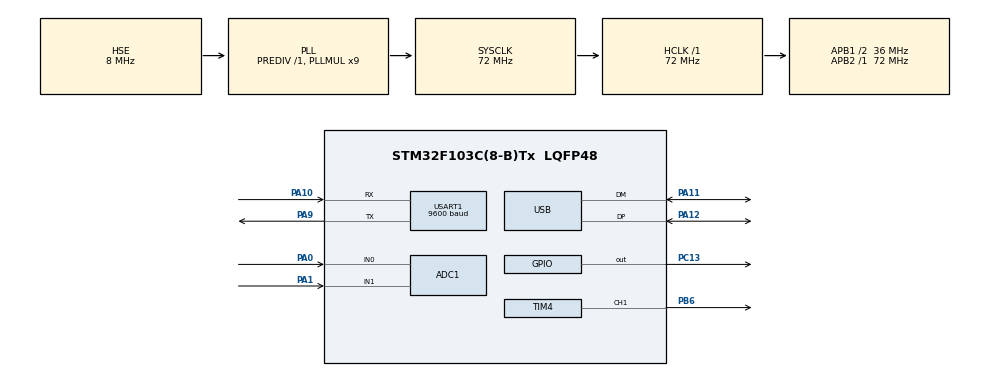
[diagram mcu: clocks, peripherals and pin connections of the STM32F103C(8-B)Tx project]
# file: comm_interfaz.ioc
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Mcu.Family=STM32F1
RCC.PLLSourceVirtual=RCC_PLLSOURCE_HSE
NVIC.ADC1_2_IRQn=true\:0\:0\:false\:false\:true\:true\:true
USB_DEVICE.CLASS_NAME_FS=CDC
ADC1.Rank-0\#ChannelRegularConversion=1
Dma.ADC1.1.MemDataAlignment=DMA_MDATAALIGN_HALFWORD
NVIC.DMA1_Channel5_IRQn=true\:0\:0\:false\:false\:true\:false\:true
Dma.USART1_RX.0.PeriphDataAlignment=DMA_PDATAALIGN_BYTE
PD1-OSC_OUT.Mode=HSE-External-Oscillator
PA10.Mode=Asynchronous
USB_DEVICE.VirtualModeFS=Cdc_FS
USART1.BaudRate=9600
PC13-TAMPER-RTC.Signal=GPIO_Output
RCC.USBPrescaler=RCC_USBCLKSOURCE_PLL_DIV1_5
PA11.Mode=Device
PD0-OSC_IN.Signal=RCC_OSC_IN
RCC.APB1CLKDivider=RCC_HCLK_DIV2
RCC.SYSCLKSource=RCC_SYSCLKSOURCE_PLLCLK
ProjectManager.StackSize=0x400
PA0-WKUP.Signal=ADCx_IN0
PD1-OSC_OUT.Signal=RCC_OSC_OUT
RCC.ADCPresc=RCC_ADCPCLK2_DIV6
PA13.Signal=SYS_JTMS-SWDIO
PA9.Mode=Asynchronous
PA12.Signal=USB_DP
ProjectManager.TargetToolchain=STM32CubeIDE
Dma.ADC1.1.Instance=DMA1_Channel1
Dma.USART1_RX.0.Direction=DMA_PERIPH_TO_MEMORY
RCC.HCLKFreq_Value=72000000
VP_USB_DEVICE_VS_USB_DEVICE_CDC_FS.Mode=CDC_FS
RCC.APB2TimFreq_Value=72000000
TIM3.Period=1000 - 1
PA9.Signal=USART1_TX
PB6.Signal=S_TIM4_CH1
ADC1.Channel-1\#ChannelRegularConversion=ADC_CHANNEL_1
Dma.ADC1.1.PeriphDataAlignment=DMA_PDATAALIGN_HALFWORD
RCC.USBFreq_Value=48000000
TIM4.Prescaler=251 - 1
TIM4.OCMode_1=TIM_OCMODE_TOGGLE
PA1.Signal=ADCx_IN1
RCC.AHBFreq_Value=72000000
Dma.USART1_RX.0.PeriphInc=DMA_PINC_DISABLE
Dma.USART1_RX.0.Priority=DMA_PRIORITY_LOW
PD0-OSC_IN.Mode=HSE-External-Oscillator
ADC1.Channel-0\#ChannelRegularConversion=ADC_CHANNEL_0
board=custom
TIM4.Pulse-Output\ Compare1\ CH1=50
RCC.PLLMUL=RCC_PLL_MUL9
RCC.APB2Freq_Value=72000000
PA14.Mode=Serial_Wire
TIM3.Prescaler=7200 - 1
NVIC.USB_LP_CAN1_RX0_IRQn=true\:0\:0\:false\:false\:true\:false\:true
Dma.ADC1.1.Priority=DMA_PRIORITY_LOW
Dma.USART1_RX.0.MemDataAlignment=DMA_MDATAALIGN_BYTE
Dma.ADC1.1.Mode=DMA_CIRCULAR
TIM4.Channel-Output\ Compare1\ CH1=TIM_CHANNEL_1
SH.ADCx_IN0.0=ADC1_IN0,IN0
Dma.ADC1.1.PeriphInc=DMA_PINC_DISABLE
TIM4.Period=151 - 1
ADC1.NbrOfConversion=2
Dma.USART1_RX.0.MemInc=DMA_MINC_ENABLE
PA13.Mode=Serial_Wire
Mcu.Name=STM32F103C(8-B)Tx
ADC1.SamplingTime-0\#ChannelRegularConversion=ADC_SAMPLETIME_7CYCLES_5
ADC1.ExternalTrigConv=ADC_EXTERNALTRIGCONV_T3_TRGO
ADC1.SamplingTime-1\#ChannelRegularConversion=ADC_SAMPLETIME_7CYCLES_5
RCC.SYSCLKFreq_VALUE=72000000
Mcu.Package=LQFP48
ADC1.master=1
PA12.Mode=Device
Dma.ADC1.1.Direction=DMA_PERIPH_TO_MEMORY
USART1.VirtualMode=VM_ASYNC
ADC1.Rank-1\#ChannelRegularConversion=2
PA11.Signal=USB_DM
Dma.ADC1.1.MemInc=DMA_MINC_ENABLE
PA10.Signal=USART1_RX
PA14.Signal=SYS_JTCK-SWCLK
ProjectManager.HeapSize=0x200
VP_TIM4_VS_ClockSourceINT.Mode=Internal
NVIC.PriorityGroup=NVIC_PRIORITYGROUP_4
ADC1.NbrOfConversionFlag=1
SH.ADCx_IN1.0=ADC1_IN1,IN1
SH.S_TIM4_CH1.0=TIM4_CH1,Output Compare1 CH1
Dma.Request1=ADC1
RCC.APB1TimFreq_Value=72000000
Dma.USART1_RX.0.Mode=DMA_CIRCULAR
NVIC.DMA1_Channel1_IRQn=true\:0\:0\:false\:false\:true\:false\:true
TIM3.TIM_MasterOutputTrigger=TIM_TRGO_UPDATE
NVIC.USART1_IRQn=true\:0\:0\:false\:false\:true\:true\:true
Dma.Request0=USART1_RX
RCC.APB1Freq_Value=36000000
USB_DEVICE.VirtualMode=Cdc
Dma.USART1_RX.0.Instance=DMA1_Channel5
VP_TIM3_VS_ClockSourceINT.Mode=Internal

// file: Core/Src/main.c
/* USER CODE BEGIN Header */
/**
  ******************************************************************************
  * @file           : main.c
  * @brief          : Main program body
  ******************************************************************************
  * @attention
  *
  * <h2><center>&copy; Copyright (c) 2021 STMicroelectronics.
  * All rights reserved.</center></h2>
  *
  * This software component is licensed by ST under BSD 3-Clause license,
  * the "License"; You may not use this file except in compliance with the
  * License. You may obtain a copy of the License at:
  *                        opensource.org/licenses/BSD-3-Clause
  *
  ******************************************************************************
  */
/* USER CODE END Header */
#include "main.h"
#include "usb_device.h"

/* USER CODE BEGIN Includes */
#include "comm.h"
#include "common_variables.h"
#include "time_functions.h"
#include "compensador.h"
#include <stdio.h>
#include <stdint.h>
#include <stdbool.h>
#include <string.h>
#include <stdlib.h>
#include "usbd_cdc_if.h"
/* USER CODE END Includes */

ADC_HandleTypeDef hadc1;
DMA_HandleTypeDef hdma_adc1;

TIM_HandleTypeDef htim3;
TIM_HandleTypeDef htim4;

UART_HandleTypeDef huart1;
DMA_HandleTypeDef hdma_usart1_rx;

/* USER CODE BEGIN PV */

//variables de prueba del time_functions
uint32_t tLast1 = 0;

//variables para el envio de la secuencia CONECTADO
const uint16_t sendConectadoPeriod = 3000;		//intervalo de tiempo en milisegundos
uint32_t tLast_sendConectado = 0;				//variable para almacenar el último tiempo que se envió

//variables para el envío de valores a la interfaz
int16_t sendDataPeriod = 60;					//intervalo de tiempo en milisegundos
uint32_t tLast_sendData = 0;					//variable para almacenar el último tiempo que se envió

//variables para comunicación con la interfaz
uint8_t enviarDatos = 0;   						//flag para saber si se deben enviar datos o no

//variables para la comunicación serie
uint8_t uart1ReceivedData;				//variable para recibir cada byte del UART
volatile uint8_t inputBuffer[64];				//buffer para ir concatenando el string recibido
volatile uint8_t inputIndex;						//indice para escribir en el buffer
comando_in comandoUart;					//struct que tiene los campos .name y .coeficientes.
volatile uint8_t uart_rx_complete = 0;

//tipo de dato serialDevice_t definido en common_variables.h
//serialDevice_t serialDevice = USB_SERIAL;	 //la variable serialDevice define por dónde se envían los datos
serialDevice_t serialDevice = UART1;

//variables para el ADC
const uint8_t adcSamples = ADC_MAX_SAMPLES;    //cantidad de muestras a tomar
const uint8_t adcSamples_per_ch = adcSamples / 2;		//muestras por canal
volatile uint16_t adcBuf[ADC_MAX_SAMPLES];			//buffer para almacenar las muestras del ADC
uint16_t adc_ch0[ADC_MAX_SAMPLES / 2];						//PARA ALMACENAR LAS MEUSTRAS DEL CANAL 0
uint16_t adc_ch1[ADC_MAX_SAMPLES / 2];
volatile uint8_t adcConverted = 0;					//flag que indica si hay nuevos valores disponibles del adc
const uint32_t ADC_SAMPLE_FREQ = 50000;					//frecuencia de muestreo del adc en Hz

//variables para el compensador digital
comp_t digitalComp;			//comp_t definido en common_variables.h
float Yestimada_m, Yreferencia_m, Yestimada_prom;			//variables para los valores de posición en mm
//float ViL_actual, ViL_anterior;						//para almacenar el valor de la salida del sensor de efecto hall
//float corriente_actual, corriente_anterior,  corriente_media; 	//variables para almacenar los valores de la corriente
uint16_t corriente_media_int;

float ViLref;							//salida del compensador, que entra al controlador de corriente

float derivadas[ADC_MAX_SAMPLES];
float deriv_promedio;
//float Yestimada;
float corriente_media;

//estructura del compensador
comp_t digitalComp;						//compensador digital, tipo de dato definido en common_variables.h
//coeficientes por defecto del compensador
const float DEFAULT_DEN_COEF[] = {0, 1.947, -0.9473};		//denominador por defecto del compensador
const float DEFAULT_NUM_COEF[] = {2.422e6, -4.838e6, 2.416e6}; //numerador por defecto del compensador
/* USER CODE END PV */

void SystemClock_Config(void);
static void MX_GPIO_Init(void);
static void MX_DMA_Init(void);
static void MX_TIM3_Init(void);
static void MX_USART1_UART_Init(void);
static void MX_ADC1_Init(void);
static void MX_TIM4_Init(void);

int main(void)
{

  /* MCU Configuration--------------------------------------------------------*/

  /* Reset of all peripherals, Initializes the Flash interface and the Systick. */
  HAL_Init();

  /* Configure the system clock */
  SystemClock_Config();

  /* Initialize all configured peripherals */
  MX_GPIO_Init();
  MX_DMA_Init();
  MX_TIM3_Init();
  MX_USART1_UART_Init();
  MX_ADC1_Init();
  MX_USB_DEVICE_Init();
  MX_TIM4_Init();
  /* USER CODE BEGIN 2 */

  //inicialización de los valores del compensador digital
  digitalComp.sum1.sign_in = -1;
  digitalComp.sum1.sign_feed = 1;
  digitalComp.sum2.sign_in = -1;
  digitalComp.sum2.sign_feed = 1;
  digitalComp.Kint = 20;				//ganancia del integrador
  digitalComp.Ts = 0.001;				//1 ms de periodo de muestreo
  for(int i = 0; i<3; i++){
	  digitalComp.numCoef[i] = DEFAULT_NUM_COEF[i];
	  digitalComp.denCoef[i] = DEFAULT_DEN_COEF[i];
  }

  HAL_TIM_OC_Start(&htim4, TIM_CHANNEL_1);  //esto es una señal de prueba para generar una onda cuadrada

  setAdcFreq(ADC_SAMPLE_FREQ);    //setea la frecuencia de muestreo del adc

 // HAL_TIM_Base_Start_IT(&htim4);			//inicio el tim4 para enviar la secuencia conectado
  HAL_UART_Receive_DMA(&huart1, &uart1ReceivedData, 1);	//inicio la recepción por uart dma

  HAL_TIM_Base_Start(&htim3);				//inicio el timer 3 para comenzar las conversiones del ADC
  HAL_ADC_Start_DMA(&hadc1, (uint32_t*) adcBuf, adcSamples);	//inicio el ADC en modo DMA
  	  	  	  	  	  	  	  	  	  	  	  	  	  	  	  	//para que lea la cantidad adcSamples
  	  	  	  	  	  	  	  	  	  	  	  	  	  	  	  	//y luego dispare una interrupción
  /* USER CODE END 2 */

  /* Infinite loop */
  while (1)
  {

    /* USER CODE BEGIN 3 */

	  //si se cumple el numero de conversiones deseadas
	  if(adcConverted){
		  adcConverted = 0;
		  HAL_TIM_Base_Stop(&htim3);

		  //esto es para separar las muestras del canal 1 y el 2
		  for(int i= 0; i < adcSamples; i = i + 2){
			  adc_ch0[i/2] = adcBuf[i];
			  adc_ch1[i/2] = adcBuf[i+1];
		  }

		  //acá calculamos la posición de referencia que se lee por el canal 1
		  Yreferencia_m = 2 * adc_ch1[0] * 3.3 / 4095;	//el dos es suponiendo que ponemos un divisor resistivo a la entrada
		  Yreferencia_m -= 3.4687;
		  Yreferencia_m /= 212.5;

		  //acá calculamos la posición estimada
		  corriente_media = obtenerCorrienteMedia((uint16_t *) adc_ch0, adcSamples_per_ch);
		  derivar(derivadas, (uint16_t *) adc_ch0, adcSamples_per_ch, ADC_SAMPLE_FREQ);
		  deriv_promedio = promediar(derivadas, adcSamples_per_ch);
		  Yestimada_m = estimar(deriv_promedio);

		  digitalComp.Yref = Yreferencia_m;
		  digitalComp.Yestimada = Yestimada_m;

		  //acá hay que aplicar el algoritmo de compensación
		  compensar(&digitalComp);
		  ViLref = digitalComp.control2_n;
		  //poner salida en el DAC ( que no tengo jej)

		  HAL_TIM_Base_Start(&htim3);

	  }

	 //me fijo si se cumplió el periodo de 3 segundos
	  if(checkPeriod(sendConectadoPeriod, &tLast_sendConectado)){
		  comm_send_conectado();
	  }

	  //me fijo si se cumplió el periodo para envíar los datos a la app
	  if(enviarDatos & checkPeriod(sendDataPeriod, &tLast_sendData)){
	  		 // HAL_GPIO_TogglePin(GPIOC, GPIO_PIN_13);
	  		  comm_send_data((uint16_t) Yestimada_m, (uint16_t) corriente_media, adcBuf[2],  adcBuf[3]);

	  		  char strEstim[20];
	  		  sprintf(strEstim, "%5.2f\r\n", Yestimada_m);
	  		//  serialSend(serialDevice, (uint8_t*) strEstim, strlen(strEstim), 100);

	  		 // __HAL_TIM_SET_COMPARE(&htim4, TIM_CHANNEL_1, adcBuf[0]);
	  	  }

	  //si se recibe un nuevo comando por uart o por usb
	  if(uart_rx_complete){
		  uart_rx_complete = 0;			//reseteo el flag
		  comandoUart = comm_parse(inputBuffer);		//configura los campos de comandoUart
		  comm_case(comandoUart);						//decide qué hacer en función del comando
	  }
  }
  /* USER CODE END 3 */
}

void SystemClock_Config(void)
{
  RCC_OscInitTypeDef RCC_OscInitStruct = {0};
  RCC_ClkInitTypeDef RCC_ClkInitStruct = {0};
  RCC_PeriphCLKInitTypeDef PeriphClkInit = {0};

  /** Initializes the RCC Oscillators according to the specified parameters
  * in the RCC_OscInitTypeDef structure.
  */
  RCC_OscInitStruct.OscillatorType = RCC_OSCILLATORTYPE_HSE;
  RCC_OscInitStruct.HSEState = RCC_HSE_ON;
  RCC_OscInitStruct.HSEPredivValue = RCC_HSE_PREDIV_DIV1;
  RCC_OscInitStruct.HSIState = RCC_HSI_ON;
  RCC_OscInitStruct.PLL.PLLState = RCC_PLL_ON;
  RCC_OscInitStruct.PLL.PLLSource = RCC_PLLSOURCE_HSE;
  RCC_OscInitStruct.PLL.PLLMUL = RCC_PLL_MUL9;
  if (HAL_RCC_OscConfig(&RCC_OscInitStruct) != HAL_OK)
  {
    Error_Handler();
  }
  /** Initializes the CPU, AHB and APB buses clocks
  */
  RCC_ClkInitStruct.ClockType = RCC_CLOCKTYPE_HCLK|RCC_CLOCKTYPE_SYSCLK
                              |RCC_CLOCKTYPE_PCLK1|RCC_CLOCKTYPE_PCLK2;
  RCC_ClkInitStruct.SYSCLKSource = RCC_SYSCLKSOURCE_PLLCLK;
  RCC_ClkInitStruct.AHBCLKDivider = RCC_SYSCLK_DIV1;
  RCC_ClkInitStruct.APB1CLKDivider = RCC_HCLK_DIV2;
  RCC_ClkInitStruct.APB2CLKDivider = RCC_HCLK_DIV1;

  if (HAL_RCC_ClockConfig(&RCC_ClkInitStruct, FLASH_LATENCY_2) != HAL_OK)
  {
    Error_Handler();
  }
  PeriphClkInit.PeriphClockSelection = RCC_PERIPHCLK_ADC|RCC_PERIPHCLK_USB;
  PeriphClkInit.AdcClockSelection = RCC_ADCPCLK2_DIV6;
  PeriphClkInit.UsbClockSelection = RCC_USBCLKSOURCE_PLL_DIV1_5;
  if (HAL_RCCEx_PeriphCLKConfig(&PeriphClkInit) != HAL_OK)
  {
    Error_Handler();
  }
}

static void MX_ADC1_Init(void)
{

  ADC_ChannelConfTypeDef sConfig = {0};

  /** Common config
  */
  hadc1.Instance = ADC1;
  hadc1.Init.ScanConvMode = ADC_SCAN_ENABLE;
  hadc1.Init.ContinuousConvMode = DISABLE;
  hadc1.Init.DiscontinuousConvMode = DISABLE;
  hadc1.Init.ExternalTrigConv = ADC_EXTERNALTRIGCONV_T3_TRGO;
  hadc1.Init.DataAlign = ADC_DATAALIGN_RIGHT;
  hadc1.Init.NbrOfConversion = 2;
  if (HAL_ADC_Init(&hadc1) != HAL_OK)
  {
    Error_Handler();
  }
  /** Configure Regular Channel
  */
  sConfig.Channel = ADC_CHANNEL_0;
  sConfig.Rank = ADC_REGULAR_RANK_1;
  sConfig.SamplingTime = ADC_SAMPLETIME_7CYCLES_5;
  if (HAL_ADC_ConfigChannel(&hadc1, &sConfig) != HAL_OK)
  {
    Error_Handler();
  }
  /** Configure Regular Channel
  */
  sConfig.Channel = ADC_CHANNEL_1;
  sConfig.Rank = ADC_REGULAR_RANK_2;
  if (HAL_ADC_ConfigChannel(&hadc1, &sConfig) != HAL_OK)
  {
    Error_Handler();
  }

}

static void MX_TIM3_Init(void)
{

  TIM_ClockConfigTypeDef sClockSourceConfig = {0};
  TIM_MasterConfigTypeDef sMasterConfig = {0};

  htim3.Instance = TIM3;
  htim3.Init.Prescaler = 7200 - 1;
  htim3.Init.CounterMode = TIM_COUNTERMODE_UP;
  htim3.Init.Period = 1000 - 1;
  htim3.Init.ClockDivision = TIM_CLOCKDIVISION_DIV1;
  htim3.Init.AutoReloadPreload = TIM_AUTORELOAD_PRELOAD_DISABLE;
  if (HAL_TIM_Base_Init(&htim3) != HAL_OK)
  {
    Error_Handler();
  }
  sClockSourceConfig.ClockSource = TIM_CLOCKSOURCE_INTERNAL;
  if (HAL_TIM_ConfigClockSource(&htim3, &sClockSourceConfig) != HAL_OK)
  {
    Error_Handler();
  }
  sMasterConfig.MasterOutputTrigger = TIM_TRGO_UPDATE;
  sMasterConfig.MasterSlaveMode = TIM_MASTERSLAVEMODE_DISABLE;
  if (HAL_TIMEx_MasterConfigSynchronization(&htim3, &sMasterConfig) != HAL_OK)
  {
    Error_Handler();
  }

}

static void MX_TIM4_Init(void)
{

  TIM_ClockConfigTypeDef sClockSourceConfig = {0};
  TIM_MasterConfigTypeDef sMasterConfig = {0};
  TIM_OC_InitTypeDef sConfigOC = {0};

  htim4.Instance = TIM4;
  htim4.Init.Prescaler = 251 - 1;
  htim4.Init.CounterMode = TIM_COUNTERMODE_UP;
  htim4.Init.Period = 151 - 1;
  htim4.Init.ClockDivision = TIM_CLOCKDIVISION_DIV1;
  htim4.Init.AutoReloadPreload = TIM_AUTORELOAD_PRELOAD_DISABLE;
  if (HAL_TIM_Base_Init(&htim4) != HAL_OK)
  {
    Error_Handler();
  }
  sClockSourceConfig.ClockSource = TIM_CLOCKSOURCE_INTERNAL;
  if (HAL_TIM_ConfigClockSource(&htim4, &sClockSourceConfig) != HAL_OK)
  {
    Error_Handler();
  }
  if (HAL_TIM_OC_Init(&htim4) != HAL_OK)
  {
    Error_Handler();
  }
  sMasterConfig.MasterOutputTrigger = TIM_TRGO_RESET;
  sMasterConfig.MasterSlaveMode = TIM_MASTERSLAVEMODE_DISABLE;
  if (HAL_TIMEx_MasterConfigSynchronization(&htim4, &sMasterConfig) != HAL_OK)
  {
    Error_Handler();
  }
  sConfigOC.OCMode = TIM_OCMODE_TOGGLE;
  sConfigOC.Pulse = 50;
  sConfigOC.OCPolarity = TIM_OCPOLARITY_HIGH;
  sConfigOC.OCFastMode = TIM_OCFAST_DISABLE;
  if (HAL_TIM_OC_ConfigChannel(&htim4, &sConfigOC, TIM_CHANNEL_1) != HAL_OK)
  {
    Error_Handler();
  }
  /* USER CODE BEGIN TIM4_Init 2 */
 // htim4.Init.Prescaler = 2000 - 1;
  /* USER CODE END TIM4_Init 2 */
  HAL_TIM_MspPostInit(&htim4);

}

static void MX_USART1_UART_Init(void)
{

  huart1.Instance = USART1;
  huart1.Init.BaudRate = 9600;
  huart1.Init.WordLength = UART_WORDLENGTH_8B;
  huart1.Init.StopBits = UART_STOPBITS_1;
  huart1.Init.Parity = UART_PARITY_NONE;
  huart1.Init.Mode = UART_MODE_TX_RX;
  huart1.Init.HwFlowCtl = UART_HWCONTROL_NONE;
  huart1.Init.OverSampling = UART_OVERSAMPLING_16;
  if (HAL_UART_Init(&huart1) != HAL_OK)
  {
    Error_Handler();
  }

}

static void MX_DMA_Init(void)
{

  /* DMA controller clock enable */
  __HAL_RCC_DMA1_CLK_ENABLE();

  /* DMA interrupt init */
  /* DMA1_Channel1_IRQn interrupt configuration */
  HAL_NVIC_SetPriority(DMA1_Channel1_IRQn, 0, 0);
  HAL_NVIC_EnableIRQ(DMA1_Channel1_IRQn);
  /* DMA1_Channel5_IRQn interrupt configuration */
  HAL_NVIC_SetPriority(DMA1_Channel5_IRQn, 0, 0);
  HAL_NVIC_EnableIRQ(DMA1_Channel5_IRQn);

}

static void MX_GPIO_Init(void)
{
  GPIO_InitTypeDef GPIO_InitStruct = {0};

  /* GPIO Ports Clock Enable */
  __HAL_RCC_GPIOC_CLK_ENABLE();
  __HAL_RCC_GPIOD_CLK_ENABLE();
  __HAL_RCC_GPIOA_CLK_ENABLE();
  __HAL_RCC_GPIOB_CLK_ENABLE();

  /*Configure GPIO pin Output Level */
  HAL_GPIO_WritePin(GPIOC, GPIO_PIN_13, GPIO_PIN_RESET);

  /*Configure GPIO pin : PC13 */
  GPIO_InitStruct.Pin = GPIO_PIN_13;
  GPIO_InitStruct.Mode = GPIO_MODE_OUTPUT_PP;
  GPIO_InitStruct.Pull = GPIO_NOPULL;
  GPIO_InitStruct.Speed = GPIO_SPEED_FREQ_LOW;
  HAL_GPIO_Init(GPIOC, &GPIO_InitStruct);

}

void Error_Handler(void)
{
  __disable_irq();
  while (1)
  {
  }
}

/************************ (C) COPYRIGHT STMicroelectronics *****END OF FILE****/
